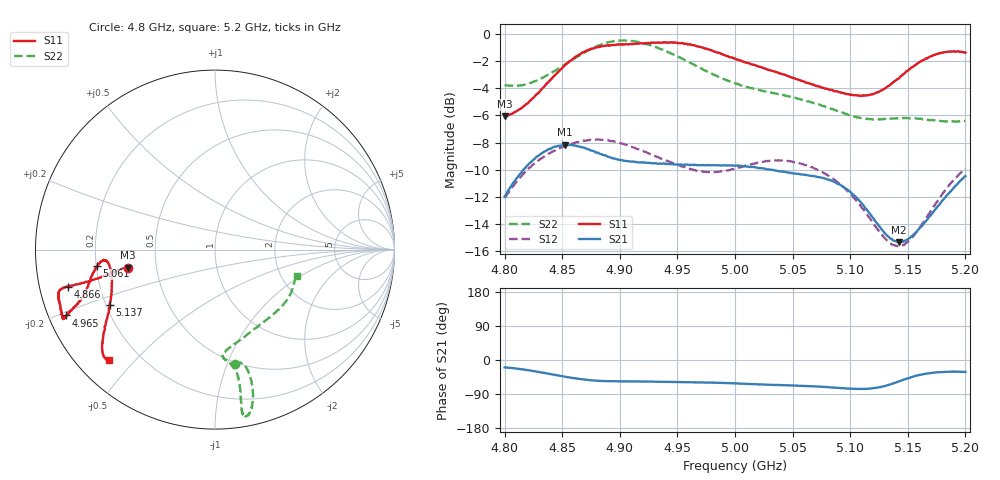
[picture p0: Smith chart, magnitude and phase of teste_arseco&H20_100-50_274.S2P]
! Network Analyzer HP8722D
! Hewlett-Packard
! Data name: Linha & Wilkinson
! Saver's name: Rodrigo Anjos
! Comments: Teste da utilização de aquisição
! continua pelo VNA HP8722D
! Time and date: 6/5/2025 14:51
!  Frequency  S11  S21  S12  S22
# HZ  S  MA R 50
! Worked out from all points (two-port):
!   401 points, 4.8 GHz to 5.2 GHz, reference 50 ohm
!   highest |S21| = -8.16 dB at 4.852 GHz (marker M1); lowest = -15.3 dB at 5.142 GHz (marker M2)
!   |S21| within 3 dB of the highest: 4.806 GHz to 5.092 GHz (286.3 MHz wide, 5.78 % of centre); 5.191843 GHz to end of sweep
!   lowest |S11| = -6.1 dB at 4.8 GHz (marker M3), VSWR 2.97, Z = 17 - j4.56 ohm
!   |S11| at or under -10 dB: nowhere
!   |S22| runs from -6.5 to -0.5 dB; largest |S21 - S12| = 0.62
!   S11 on the Smith chart (normalised r, x): 4.8 GHz: 0.34, -0.09; 4.866 GHz: 0.09, -0.12; 4.965 GHz: 0.05, -0.21; 5.061 GHz: 0.20, -0.07; 5.137 GHz: 0.22, -0.23; 5.2 GHz: 0.09, -0.42
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4.8e9  0.4965 -168.2  0.2522 -19.8  0.2488 -140.8  0.6485 -80.3
4.825e9  0.5814 -167.4  0.3437 -29.1  0.3313 -144.2  0.666 -75.7
4.852e9  0.7631 -165.9  0.391 -43.8  0.3863 -149.5  0.7686 -74.6
4.866e9  0.8441 -165.9  0.383 -50.4  0.4021 -151.8  0.8372 -75.3
4.867e9  0.849 -165.9  0.3832 -50.9  0.4028 -152.0  0.8426 -75.4
4.898e9  0.9108 -163.1  0.3453 -56.2  0.3984 -156.5  0.9427 -78.9
4.915e9  0.9192 -159.5  0.3368 -56.8  0.3772 -157.2  0.9337 -80.4
4.934e9  0.9287 -156.4  0.3328 -57.4  0.3501 -155.7  0.883 -80.5
4.965e9  0.9054 -156.1  0.3302 -59.0  0.3152 -148.7  0.7678 -79.8
5e9  0.8108 -159.1  0.3273 -61.7  0.3195 -137.2  0.6571 -81.2
5.036e9  0.7229 -165.5  0.3138 -66.0  0.3418 -134.4  0.6018 -85.6
5.061e9  0.6631 -172.0  0.303 -68.5  0.3293 -136.3  0.5701 -84.0
5.067e9  0.6517 -173.1  0.3006 -69.2  0.3229 -136.8  0.5591 -82.7
5.084e9  0.6226 -174.6  0.2888 -72.3  0.2953 -138.4  0.5291 -76.3
5.101e9  0.597 -172.1  0.2598 -75.7  0.2555 -138.8  0.4999 -66.6
5.116e9  0.5949 -165.5  0.2213 -75.9  0.2124 -135.5  0.4854 -55.7
5.134e9  0.6456 -154.2  0.1781 -65.2  0.1707 -120.7  0.4873 -43.3
5.137e9  0.6616 -152.4  0.1742 -62.2  0.1676 -116.8  0.4876 -41.4
5.142e9  0.6838 -149.7  0.1713 -56.8  0.166 -110.2  0.489 -38.6
5.154e9  0.7546 -144.4  0.1809 -44.5  0.1791 -95.0  0.4883 -32.3
5.172e9  0.8337 -139.0  0.2208 -33.7  0.2298 -81.2  0.4815 -24.6
5.2e9  0.8523 -133.7  0.2997 -31.3  0.3188 -77.0  0.4781 -17.6
